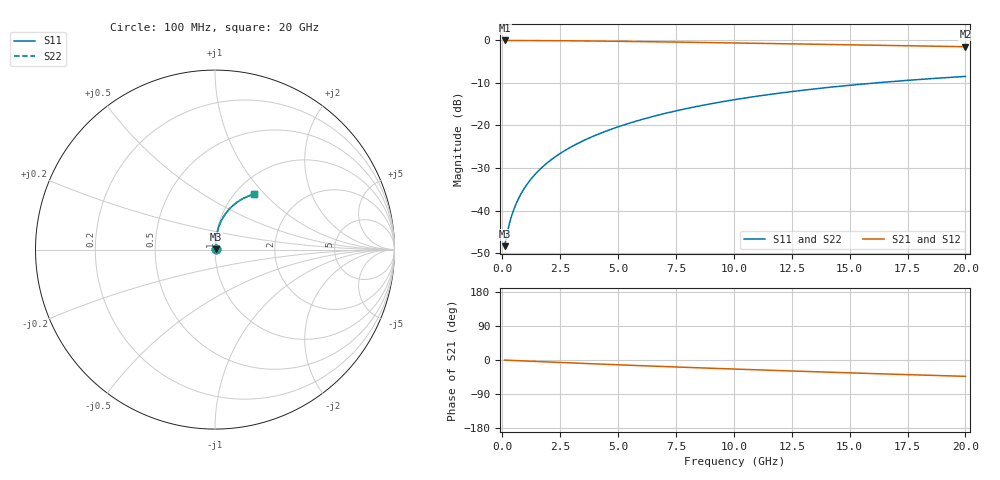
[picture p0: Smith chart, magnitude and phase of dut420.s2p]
! Touchstone file exported from HFSS 2024.1.0
!  File:  C:/UserFiles/LocalFiles/RDL_TSV_Batchsim/temp_RDL_top_420_1779675994.aedt
!  Generated:  10:28:29 AM May 25, 2026
!  Design:  RDL_top
!  Project:  temp_RDL_top_420_1779675994
!  Setup:  Setup1
!  Solution:  Sweep
! Variables:
!  dtsv = 10.80580581um
!  hbump = 3um
!  htsv = 60.57um
!  ldown = 100um
!  lrdl = 625.92um
!  p = 40
!  p1 = 48.12um
!  rhole = 1um
!  t = 450um
!  tdown = 3.915915916um
!  trdl = 3.39um
!  wdown = 15.38538539um
!  wrdl = 21.78um
# GHz S MA R 50.000000
! Terminal data exported
! Port[1] = Box2_T1
! Port[2] = Box2_T2
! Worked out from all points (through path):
!   200 points, 100 MHz to 20 GHz, reference 50 ohm
!   highest |S21| = -0.03 dB at 100 MHz (marker M1); lowest = -1.5 dB at 20 GHz (marker M2)
!   group delay of S21, straight-line fit = 5.95 ps
!   lowest |S11| = -48.4 dB at 100 MHz (marker M3), VSWR 1.01, Z = 50.3 + j0.208 ohm
!   |S11| at or under -10 dB: start of sweep to 16.14 GHz
!   |S22| runs from -48.4 to -8.5 dB; largest |S21 - S12| = 3.4e-15
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0.1  0.003812 32.9  0.9968 -0.3  0.9968 -0.3  0.003812 32.9
! Gamma 0 0 0 0
! Port Impedance 50 0 50 0
0.2  0.005265 50.4  0.9966 -0.5  0.9966 -0.5  0.005265 50.4
0.3  0.006924 59.4  0.9964 -0.8  0.9964 -0.8  0.006923 59.4
0.4  0.008623 64.7  0.9962 -1.1  0.9962 -1.1  0.008623 64.7
0.5  0.01034 68.4  0.996 -1.3  0.996 -1.3  0.01034 68.4
0.6  0.01206 71.1  0.9958 -1.6  0.9958 -1.6  0.01206 71.1
0.8  0.01556 74.9  0.9954 -2.1  0.9954 -2.1  0.01556 74.9
1.1  0.0209 78.3  0.9948 -2.9  0.9948 -2.9  0.0209 78.3
1.3  0.02452 79.7  0.9943 -3.4  0.9943 -3.4  0.02452 79.7
1.6  0.03 81.2  0.9934 -4.2  0.9934 -4.2  0.03 81.2
2.1  0.03929 82.6  0.9916 -5.5  0.9916 -5.5  0.0393 82.6
2.7  0.05067 83.4  0.9889 -7.0  0.9889 -7.0  0.05067 83.4
3.5  0.06619 83.6  0.9846 -9.0  0.9846 -9.0  0.06619 83.6
4.2  0.08009 83.3  0.9801 -10.7  0.9801 -10.7  0.0801 83.4
5  0.0963 82.7  0.9744 -12.7  0.9744 -12.7  0.09631 82.7
6.8  0.1336 80.3  0.9601 -16.9  0.9601 -16.9  0.1336 80.3
8.4  0.1671 77.5  0.9463 -20.4  0.9463 -20.4  0.1672 77.5
10.1  0.2023 74.2  0.9311 -24.1  0.9311 -24.1  0.2023 74.3
11.7  0.2344 71.0  0.9166 -27.4  0.9166 -27.4  0.2345 71.1
13.4  0.2671 67.6  0.9011 -30.8  0.9011 -30.8  0.2672 67.6
16.7  0.3256 61.1  0.8711 -37.2  0.8711 -37.2  0.3257 61.1
20  0.3769 54.9  0.8416 -43.1  0.8416 -43.1  0.377 54.9
